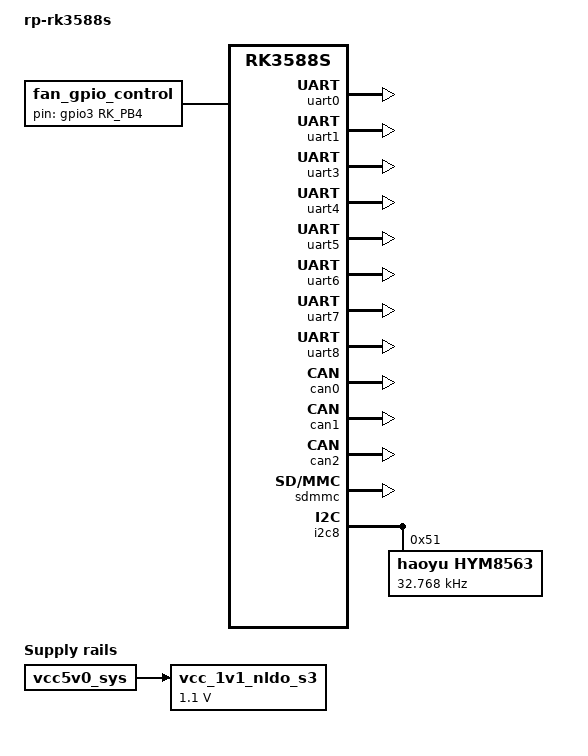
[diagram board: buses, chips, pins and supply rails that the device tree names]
/* board base */
//#include "../rk3588s-evb4-lp4x-v10-linux.dts"
#include "rp-rk3588s-board.dtsi"

#include "rp-tp-i2c4-gt911.dtsi"
#include "rp-rk3588s-lcd-gpio.dtsi"

#include "rpdzkj_config.dtsi"

/* usb */
#include "rp-usb-typec-rk3588s.dtsi"
#include "rp-usb-host.dtsi"

/* ethernet */
#include "rp-eth-pcie2gmac-rk3588s.dtsi"

/* pcie */
#include "rp-pcie-power-rk3588s.dtsi"

/* audio */
#include "rp-audio-rt5640.dtsi"

/* wifi/bt */
#include "rp-wifi-bt-ap6275p-rk3588s.dtsi"

/* camera */
#include "rp-camera-mipi-xs9922b.dtsi"


#include "rp-lcd-typec-dp0.dtsi"    //usb edp0,must be enable rp-usb-typec.dtsi, batch ignore
#include "rp-lcd-hdmi0.dtsi"        

/* signel lcd */
#include "rp-lcd-mipi0-5-720-1280-v2-boxTP.dtsi"
//#include "rp-lcd-mipi0-7-720-1280.dtsi"
//#include "rp-lcd-mipi0-8-800-1280-v3.dtsi"
//#include "rp-lcd-mipi0-8-1200-1920.dtsi"
//#include "rp-lcd-mipi0-10-800-1280-v3.dtsi"
//#include "rp-lcd-mipi0-10-1200-1920.dtsi"
//#include "rp-lcd-mipi0-10-1920-1200-jc.dtsi"
//#include "rp-lcd-rk3588s-edp0-13.3-15.6-1920-1080.dtsi"
//#include "rp-lcd-mipi1-gm8775-lvds-21-1920-1080.dtsi"
//#include "rp-lcd-mipi1-gm8775-lvds-10.1-1024-600.dtsi"

/* quadplex lcd */
//#include "rp-lcd-quadplex-mipi0-5-720-1280-v2-boxTP-mipi1-gm8775-lvds-10.1-1024-600-edp0-hdmi1.dtsi"


/ {
    model = "rp-rk3588s";

    vcc_1v1_nldo_s3: vcc-1v1-nldo-s3 {
        compatible = "regulator-fixed";
        regulator-name = "vcc_1v1_nldo_s3";
        regulator-always-on;
        regulator-boot-on;
        regulator-min-microvolt = <1100000>;
        regulator-max-microvolt = <1100000>;
        vin-supply = <&vcc5v0_sys>;
    };

	fan_gpio_control {
            compatible = "fan_gpio_control";
            gpio-pin = <&gpio3 RK_PB4 GPIO_ACTIVE_HIGH>;
            thermal-zone = "soc-thermal";
            threshold-temp = <60000>; //60C
            running-time = <10000>; //10s
            status = "okay";
        };

        rp_power{
                status = "okay";
                compatible = "rp_power";
                rp_not_deep_sleep = <1>;

//#define GPIO_FUNCTION_OUTPUT 0
//#define GPIO_FUNCTION_INPUT 1
//#define GPIO_FUNCTION_IRQ 2
//#define GPIO_FUNCTION_FLASH 3
//#define GPIO_FUNCTION_OUTPUT_CTRL 4

                vdd-3v {   
                        gpio_num = <&gpio3 RK_PB0 GPIO_ACTIVE_HIGH>;
                        gpio_function = <4>;
                };

                //fan {   
                //        gpio_num = <&gpio3 RK_PB4 GPIO_ACTIVE_HIGH>;
                //        gpio_function = <4>;
                //};

                led {  
                        gpio_num = <&gpio3 RK_PB1 GPIO_ACTIVE_HIGH>;
                        gpio_function = <3>;
                };

                usb-host-power1 {  
                        gpio_num = <&gpio3 RK_PA6 GPIO_ACTIVE_HIGH>;
                        gpio_function = <4>;
                };

                usb-host-power2 {  
                        gpio_num = <&gpio3 RK_PC1 GPIO_ACTIVE_HIGH>;
                        gpio_function = <4>;
                };

                usb-host-power3 {  
                        gpio_num = <&gpio3 RK_PC2 GPIO_ACTIVE_HIGH>;
                        gpio_function = <4>;
                };

                usb-host-power4 {  
                        gpio_num = <&gpio3 RK_PC3 GPIO_ACTIVE_HIGH>;
                        gpio_function = <4>;
                };

                usb-hub-reset {  
                        gpio_num = <&gpio1 RK_PD5 GPIO_ACTIVE_LOW>;
                        gpio_function = <4>;
                };

                sd-pwren {  
                        gpio_num = <&gpio4 RK_PB4 GPIO_ACTIVE_HIGH>;
                        gpio_function = <4>;
                };
                
                pwren-4g {  
                        gpio_num = <&gpio3 RK_PA5 GPIO_ACTIVE_HIGH>;
                        gpio_function = <4>;
                };
    };

        rp_gpio{
                status = "okay";
                compatible = "rp_gpio";

                gpio0d3 {
                        gpio_num = <&gpio0 RK_PD3 GPIO_ACTIVE_HIGH>;
                        gpio_function = <0>;
                };
                gpio0b0 {
                        gpio_num = <&gpio0 RK_PB0 GPIO_ACTIVE_HIGH>;
                        gpio_function = <0>;
                };
                gpio1c1 {
                        gpio_num = <&gpio1 RK_PC1 GPIO_ACTIVE_HIGH>;
                        gpio_function = <0>;
                };
                gpio1c4 {
                        gpio_num = <&gpio1 RK_PC4 GPIO_ACTIVE_HIGH>;
                        gpio_function = <0>;
                };
                gpio1c6 {
                        gpio_num = <&gpio1 RK_PC6 GPIO_ACTIVE_HIGH>;
                        gpio_function = <0>;
                };
                gpio1d2 {
                        gpio_num = <&gpio1 RK_PD2 GPIO_ACTIVE_HIGH>;
                        gpio_function = <0>;
                };
                gpio1d3 {
                        gpio_num = <&gpio1 RK_PD3 GPIO_ACTIVE_HIGH>;
                        gpio_function = <0>;
                };
        };
};


&uart0 {
    status = "okay";
    pinctrl-names = "default";
    pinctrl-0 = <&uart0m2_xfer>;
};

&uart1 {
    status = "okay";
    pinctrl-names = "default";
    pinctrl-0 = <&uart1m1_xfer>;
};

&uart3 {
    status = "okay";
    pinctrl-names = "default";
    pinctrl-0 = <&uart3m2_xfer>;
};

&uart4 {
    status = "okay";
    pinctrl-names = "default";
    pinctrl-0 = <&uart4m2_xfer>;
};


&uart5 {
    status = "okay";
    pinctrl-names = "default";
    pinctrl-0 = <&uart5m1_xfer>;
};

&uart6 {
    status = "okay";
    pinctrl-names = "default";
    pinctrl-0 = <&uart6m1_xfer>;
};

&uart7 {
    status = "okay";
    pinctrl-names = "default";
    pinctrl-0 = <&uart7m2_xfer>;
};

&uart8 {
    status = "okay";
    pinctrl-names = "default";
    pinctrl-0 = <&uart8m1_xfer>;
};

&fiq_debugger {
    rockchip,baudrate = <115200>;
};


&can0 {
    assigned-clocks = <&cru CLK_CAN0>;
    assigned-clock-rates = <200000000>;
    status = "okay";
    pinctrl-names = "default";
    pinctrl-0 = <&can0m0_pins>;
};

&can1 {
    assigned-clocks = <&cru CLK_CAN1>;
    assigned-clock-rates = <200000000>;
    status = "okay";
    pinctrl-names = "default";
    pinctrl-0 = <&can1m1_pins>;
};

&can2 {
    assigned-clocks = <&cru CLK_CAN2>;
    assigned-clock-rates = <200000000>;
    status = "okay";
    pinctrl-names = "default";
    pinctrl-0 = <&can2m1_pins>;
};

&sdmmc {
    status = "okay";
  /delete-property/ vmmc-supply;
};
/*
&rk_headset {
  headset_gpio = <&gpio1 RK_PC0 GPIO_ACTIVE_HIGH>;
};
*/

&i2c8 {
    status = "okay";
    pinctrl-names = "default";
    pinctrl-0 = <&i2c8m2_xfer>;

    hym8563: hym8563@51 {
        compatible = "haoyu,hym8563";
        reg = <0x51>;
        #clock-cells = <0>;
        clock-frequency = <32768>;
        clock-output-names = "hym8563";
    };

};

&display_subsystem {
clocks = <&hdptxphy_hdmi_clk0>, <&hdptxphy_hdmi_clk1>;
clock-names = "hdmi0_phy_pll", "hdmi1_phy_pll";
};

&hdptxphy_hdmi_clk0 {
            status = "okay";
};

&hdptxphy_hdmi_clk1 {
            status = "okay";
};
